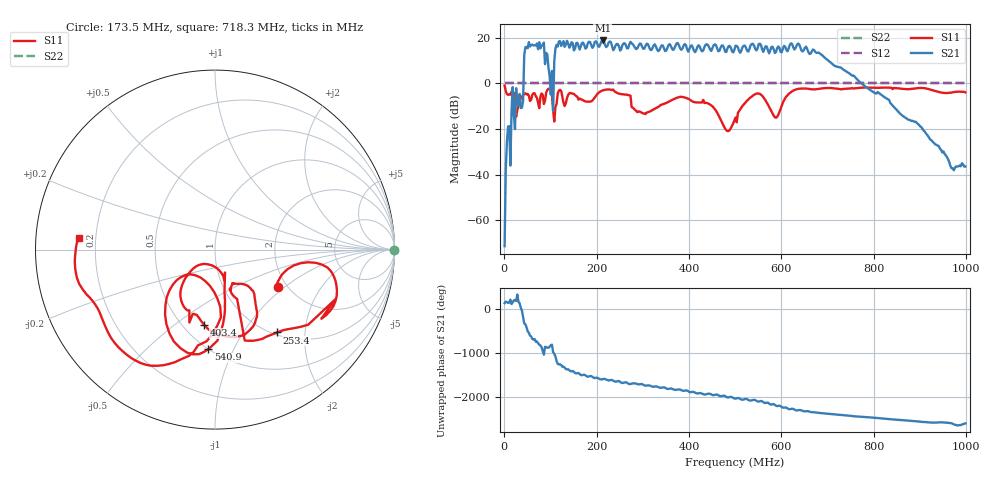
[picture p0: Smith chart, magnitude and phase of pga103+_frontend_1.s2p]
! Anritsu VNA Master:  Model: MS2024B
! SN:  2417009
! /card0/usr/pga103+_frontend_1.s2p
! Existing Calibration Information:
! TYPE:  Current Settings,  Active Cal Settings
! TIME:  09/03/2026 11:12:10 PM,  09/03/2026 11:05:05 PM
! INTERNAL TEMP:  50.3 C,  49.3 C
! # POINTS:  400,  400
! START FREQ:  1.000 MHz,  1.000 MHz
! STOP FREQ:  998.250 625 MHz,  998.250 625 MHz
! SOURCE POWER:  Default,  Default
! IFBW:  1 kHz,  1 kHz
! AVG FACTOR:  16 ,  16
! REF PLANE 1:  0 mm,  0 mm
! REF PLANE 2:  0 mm,  0 mm
! CAL TYPE:  1P2P S11,S21,  1P2P S11,S21
! CAL METHOD:  SOLT,  SOLT
! CAL LINE TYPE:  Coax,  Coax
! DUT PORT 1:  N-Conn(M),  N-Conn(M)
! DUT PORT 2:  N-Conn(M),  N-Conn(M)
! CAL STATUS:  OK: Accuracy High,  --
# GHZ S MA R 50.0
! FREQ.GHZ  S11M  S11A  S21M  S21A  S12M  S12A  S22M  S22A
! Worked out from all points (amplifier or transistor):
!   400 points, 1 MHz to 998.3 MHz, reference 50 ohm
!   highest |S21| = 18.7 dB at 213.4 MHz (marker M1)
!   |S21| within 3 dB of that: 191.9 MHz to 234.3 MHz (42.37 MHz wide, 19.9 % of centre)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
!   unconditionally stable (mu >= 1): nowhere
!   at 166 MHz: K = 2.82, MSG = 8.1 dB, |S12| = 0.0 dB
!   at 500.9 MHz: K = 3.49, MSG = 8.2 dB, |S12| = 0.0 dB
!   at 998.3 MHz: K = 0.64, MSG = -18.3 dB, |S12| = 0.0 dB
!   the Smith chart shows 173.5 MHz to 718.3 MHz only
!   S11 on the Smith chart (normalised r, x): 173.5 MHz: 1.78, -0.90; 253.4 MHz: 1.04, -1.44; 403.4 MHz: 0.63, -0.65; 540.9 MHz: 0.50, -0.80; 718.3 MHz: 0.14, +0.04
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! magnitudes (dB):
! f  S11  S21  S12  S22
! 1 MHz  -1.0  -71.4  0.0  0.0
! 8.498 MHz  -5.1  -19.0  0.0  0.0
! 13.5 MHz  -5.0  -36.1  0.0  0.0
! 18.5 MHz  -3.6  -1.7  0.0  0.0
! 23.49 MHz  -11.8  -20.2  0.0  0.0
! 38.49 MHz  -5.8  -10.8  0.0  0.0
! 45.99 MHz  -4.4  15.7  0.0  0.0
! 85.98 MHz  -9.1  17.8  0.0  0.0
! 106 MHz  -11.8  -12.2  0.0  0.0
! 113.5 MHz  -9.1  16.8  0.0  0.0
! 168.5 MHz  -7.3  17.6  0.0  0.0
! 173.5 MHz  -7.8  16.7  0.0  0.0
! 213.4 MHz  -3.2  18.7  0.0  0.0
! 253.4 MHz  -4.8  14.9  0.0  0.0
! 333.4 MHz  -10.4  14.0  0.0  0.0
! 403.4 MHz  -7.4  16.3  0.0  0.0
! 500.9 MHz  -15.0  16.4  0.0  0.0
! 540.9 MHz  -5.1  16.5  0.0  0.0
! 665.8 MHz  -2.7  13.9  0.0  0.0
! 718.3 MHz  -2.4  7.3  0.0  0.0
! 833.3 MHz  -2.0  -7.4  0.0  0.0
! 998.3 MHz  -4.0  -36.5  0.0  0.0
